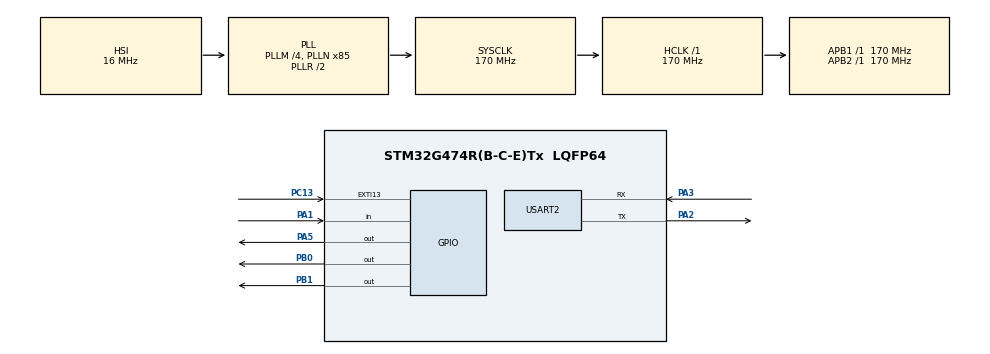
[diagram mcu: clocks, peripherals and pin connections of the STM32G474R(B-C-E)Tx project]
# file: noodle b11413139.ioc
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Mcu.Family=STM32G4
Mcu.Name=STM32G474R(B-C-E)Tx
Mcu.Package=LQFP64
NVIC.PriorityGroup=NVIC_PRIORITYGROUP_4
NVIC.USART2_IRQn=true\:0\:0\:false\:false\:true\:true\:true\:true
PA1.GPIO_PuPd=GPIO_PULLUP
PA1.Signal=GPIO_Input
PA13.GPIO_Label=T_SWDIO
PA13.Signal=SYS_JTMS-SWDIO
PA14.GPIO_Label=T_SWCLK
PA14.Signal=SYS_JTCK-SWCLK
PA2.Mode=Asynchronous
PA2.Signal=USART2_TX
PA3.Mode=Asynchronous
PA3.Signal=USART2_RX
PA5.GPIO_Speed=GPIO_SPEED_FREQ_HIGH
PA5.Signal=GPIO_Output
PB0.GPIO_Speed=GPIO_SPEED_FREQ_HIGH
PB0.Signal=GPIO_Output
PB1.GPIO_Speed=GPIO_SPEED_FREQ_HIGH
PB1.Signal=GPIO_Output
PB3.GPIO_Label=T_SWO
PB3.Signal=SYS_JTDO-SWO
PC13.GPIO_ModeDefaultEXTI=GPIO_MODE_IT_FALLING
PC13.Signal=GPXTI13
PC14-OSC32_IN.GPIO_Label=RCC_OSC32_IN
PC14-OSC32_IN.Signal=RCC_OSC32_IN
PC15-OSC32_OUT.GPIO_Label=RCC_OSC32_OUT
PC15-OSC32_OUT.Signal=RCC_OSC32_OUT
PF0-OSC_IN.GPIO_Label=RCC_OSC_IN
PF0-OSC_IN.Signal=RCC_OSC_IN
PF1-OSC_OUT.GPIO_Label=RCC_OSC_OUT
PF1-OSC_OUT.Signal=RCC_OSC_OUT
ProjectManager.HeapSize=0x200
ProjectManager.StackSize=0x400
ProjectManager.TargetToolchain=STM32CubeIDE
RCC.ADC12Freq_Value=170000000
RCC.ADC345Freq_Value=170000000
RCC.AHBFreq_Value=170000000
RCC.APB1Freq_Value=170000000
RCC.APB1TimFreq_Value=170000000
RCC.APB2Freq_Value=170000000
RCC.APB2TimFreq_Value=170000000
RCC.CortexFreq_Value=170000000
RCC.EXTERNAL_CLOCK_VALUE=12288000
RCC.HCLKFreq_Value=170000000
RCC.HSE_VALUE=24000000
RCC.HSI48_VALUE=48000000
RCC.HSI_VALUE=16000000
RCC.LSE_VALUE=32768
RCC.PLLM=RCC_PLLM_DIV4
RCC.PLLN=85
RCC.RTCClockSelection=RCC_RTCCLKSOURCE_LSE
RCC.SYSCLKFreq_VALUE=170000000
RCC.SYSCLKSource=RCC_SYSCLKSOURCE_PLLCLK
RCC.USBFreq_Value=170000000
RCC.VCOOutputFreq_Value=340000000
USART2.VirtualMode-Asynchronous=VM_ASYNC
VP_SYS_VS_DBSignals.Mode=DisableDeadBatterySignals
board=NUCLEO-G474RE

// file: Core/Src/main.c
/* USER CODE BEGIN Header */
/**
  ******************************************************************************
  * @file           : main.c
  * @brief          : 國立雲林科技大學 電子工程系「微計算機原理及應用」專案
  *                   智慧防盜泡麵微波爐守護系統 (STM32G474RETx @ 170MHz)
  *                   架構：CMSIS 純暫存器位元操作 + CubeMX 框架相容
  *                   更新功能：警報解除時強制檢查 PA1 是否插回接地
  ******************************************************************************
  * @attention
  *
  * Copyright (c) 2026 STMicroelectronics.
  * All rights reserved.
  *
  ******************************************************************************
  */
/* USER CODE END Header */
#include "main.h"

/* USER CODE BEGIN Includes */
#include <stdio.h>
#include <string.h>
#include <stdlib.h>
#include <stdbool.h>
/* USER CODE END Includes */

/* USER CODE BEGIN PTD */
typedef enum {
    STATE_IDLE = 0,
    STATE_ARMED,
    STATE_UNLOCKED,
    STATE_ALARM
} SystemState_t;

#define UART_RX_BUFFER_SIZE 64
#define CLI_LINE_MAX_LEN    64
/* USER CODE END PTD */

UART_HandleTypeDef huart2;

/* USER CODE BEGIN PV */
static volatile SystemState_t current_state = STATE_IDLE;
static char system_password[16] = "12345";
static uint8_t failed_attempts = 0;

/* USART2 環形緩衝區 */
static volatile uint8_t rx_ring_buffer[UART_RX_BUFFER_SIZE];
static volatile uint16_t rx_head = 0;
static volatile uint16_t rx_tail = 0;

/* CLI 命令行緩衝區 */
static char cli_line[CLI_LINE_MAX_LEN];
static uint16_t cli_index = 0;

/* EXTI13 按鍵事件旗標 */
static volatile bool exti13_flag = false;

/* 蜂鳴器發聲剩餘毫秒數 */
static volatile uint32_t buzzer_beep_remaining_ms = 0;
/* USER CODE END PV */

void SystemClock_Config(void);
static void MX_GPIO_Init(void);
static void MX_USART2_UART_Init(void);
/* USER CODE BEGIN PFP */
static void UART_SendChar(char ch);
static void UART_SendString(const char *str);
static void Buzzer_Tone_Toggle(void);
static void Buzzer_Mute(void);
static void Buzzer_TriggerTone(uint32_t duration_ms);
static void Trigger_Alarm(const char *reason);
static void Process_CLI_Command(char *cmd);
/* USER CODE END PFP */

/* USER CODE BEGIN 0 */

/**
  * @brief  透過 CMSIS 暫存器 TDR 發送單一字元
  */
static void UART_SendChar(char ch)
{
    while (!(USART2->ISR & USART_ISR_TXE_TXFNF)); // 等待發送資料暫存器為空
    USART2->TDR = (uint8_t)ch;
}

/**
  * @brief  透過 USART2 發送字串
  */
static void UART_SendString(const char *str)
{
    while (*str) {
        if (*str == '\n') {
            UART_SendChar('\r');
        }
        UART_SendChar(*str++);
    }
}

/**
  * @brief  PB1 輸出方波震盪（約 2.5kHz，兼顧有源與無源蜂鳴器）
  */
static void Buzzer_Tone_Toggle(void)
{
    GPIOB->BSRR = (1U << 1);            // PB1 拉高
    for (volatile int d = 0; d < 700; d++); // 延遲約 200us
    GPIOB->BSRR = (1U << (1 + 16));     // PB1 拉低
    for (volatile int d = 0; d < 700; d++); // 延遲約 200us
}

/**
  * @brief  蜂鳴器靜音
  */
static void Buzzer_Mute(void)
{
    GPIOB->BSRR = (1U << (1 + 16));     // 拉低靜音
}

/**
  * @brief  排程提示音
  */
static void Buzzer_TriggerTone(uint32_t duration_ms)
{
    buzzer_beep_remaining_ms = duration_ms;
}

/**
  * @brief  觸發警報（只印出一次警報訊息，不狂跳洗版）
  */
static void Trigger_Alarm(const char *reason)
{
    current_state = STATE_ALARM;
    UART_SendString("\r\n\r\n=======================================================\r\n");
    UART_SendString(" [警報啟動] 偵測到非法操作！\r\n");
    if (reason != NULL) {
        UART_SendString(" 原因：");
        UART_SendString(reason);
        UART_SendString("\r\n");
    }
    UART_SendString(" 警示狀態：紅燈恆亮、蜂鳴器狂鳴。\r\n");
    UART_SendString(" 解除流程：【必須先插回 PA1 感測線（接地）】後，再輸入 'RESET'！\r\n");
    UART_SendString("=======================================================\r\n> ");
}

/**
  * @brief  HAL EXTI 下降緣中斷回呼（PC13 板載藍色按鈕）
  */
void HAL_GPIO_EXTI_Callback(uint16_t GPIO_Pin)
{
    if (GPIO_Pin == GPIO_PIN_13) {
        exti13_flag = true;
    }
}

/**
  * @brief  CLI 命令解析器（中文介面）
  */
static void Process_CLI_Command(char *cmd)
{
    while (*cmd == ' ') cmd++;
    if (*cmd == '\0') return;

    /* 查詢狀態指令 */
    if (strncmp(cmd, "STATUS", 6) == 0) {
        char status_msg[160];
        const char *state_names[] = {"待機 (IDLE)", "守護上鎖 (ARMED)", "授權解鎖 (UNLOCKED)", "警報中 (ALARM)"};
        uint8_t pa1_val = (GPIOA->IDR & (1U << 1)) ? 1 : 0;
        snprintf(status_msg, sizeof(status_msg),
                 "\n[系統狀態] 模式: %s | 托盤感測線(PA1): %d (%s) | 密碼錯誤次數: %d\n> ",
                 state_names[current_state], pa1_val,
                 pa1_val == 0 ? "泡麵在位(接地)" : "托盤拔除(空)", failed_attempts);
        UART_SendString(status_msg);
        return;
    }

    switch (current_state) {
        case STATE_IDLE:
            if (strncmp(cmd, "LOCK", 4) == 0) {
                char *arg = cmd + 4;
                while (*arg == ' ') arg++;

                /* 檢查托盤感測線 PA1 是否接地（低電位 0 為在位） */
                if (GPIOA->IDR & (1U << 1)) {
                    UART_SendString("\n[錯誤] 托盤為空（PA1 未接地）！請先放置泡麵接好感測線後再上鎖。\n> ");
                } else {
                    if (strlen(arg) > 0) {
                        strncpy(system_password, arg, sizeof(system_password) - 1);
                        system_password[sizeof(system_password) - 1] = '\0';
                    }
                    failed_attempts = 0;
                    current_state = STATE_ARMED;
                    Buzzer_TriggerTone(120);
                    UART_SendString("\n[系統通知] 上鎖完成，系統進入【守護上鎖模式】。\n");
                    UART_SendString("[提示] 綠燈規律閃爍中。解鎖請直接輸入密碼。\n> ");
                }
            } else {
                UART_SendString("\n[待機指令] 輸入 'LOCK <密碼>' 進行上鎖，或輸入 'STATUS' 查看狀態。\n> ");
            }
            break;

        case STATE_ARMED:
            if (strcmp(cmd, system_password) == 0) {
                failed_attempts = 0;
                current_state = STATE_UNLOCKED;
                Buzzer_TriggerTone(200); // 授權成功嗶一聲
                UART_SendString("\n[認證成功] 密碼正確！微波爐門已解鎖（綠燈恆亮）。\n");
                UART_SendString("[取餐提示] 請開門並拔開 PA1 感測線取出泡麵。\n> ");
            } else {
                failed_attempts++;
                UART_SendString("\n[認證失敗] 密碼錯誤！\n");
                if (failed_attempts >= 3) {
                    /* 連續輸錯 3 次：短響兩聲警告後進入警報 */
                    for (int k = 0; k < 2; k++) {
                        for (int t = 0; t < 200; t++) Buzzer_Tone_Toggle();
                        HAL_Delay(80);
                    }
                    Trigger_Alarm("密碼連續輸錯達 3 次！");
                } else {
                    char err_msg[64];
                    snprintf(err_msg, sizeof(err_msg), "[警告] 密碼剩餘嘗試次數：%d\n> ", 3 - failed_attempts);
                    UART_SendString(err_msg);
                    Buzzer_TriggerTone(80);
                }
            }
            break;

        case STATE_UNLOCKED:
            UART_SendString("\n[取餐中] 請拔開 PA1 感測線取出泡麵，取餐後系統將自動返回待機。\n> ");
            break;

        case STATE_ALARM:
            if (strcmp(cmd, "RESET") == 0) {
                /* 安全防護檢查：必須先將 PA1 感測線插回 GND（低電位 0）才能解除警報 */
                if (GPIOA->IDR & (1U << 1)) {
                    UART_SendString("\n[拒絕解除] 泡麵尚未歸位（PA1 仍為高電位/拔開狀態）！\r\n"
                                    "[安全鎖定] 請先將 PA1 感測線插回 GND 接好，再輸入 'RESET'！\n> ");
                    Buzzer_TriggerTone(80); // 警示嗶聲
                } else {
                    current_state = STATE_IDLE;
                    failed_attempts = 0;
                    GPIOB->BSRR = (1U << (0 + 16)); // 紅燈滅
                    Buzzer_Mute();                  // 蜂鳴器停
                    UART_SendString("\n\n[警報解除] 感測線已確認歸位，系統復原並返回【待機模式】。\n> ");
                }
            } else {
                UART_SendString("\n[警報中] 請先插回 PA1 感測線，再輸入 'RESET' 解除警報！\n> ");
            }
            break;
    }
}
/* USER CODE END 0 */

int main(void)
{

  /* MCU Configuration--------------------------------------------------------*/

  /* Reset of all peripherals, Initializes the Flash interface and the Systick. */
  HAL_Init();

  /* Configure the system clock */
  SystemClock_Config();

  /* Initialize all configured peripherals */
  MX_GPIO_Init();
  MX_USART2_UART_Init();
  /* USER CODE BEGIN 2 */
  /* 開啟 USART2 RXNE 暫存器接收中斷 */
  USART2->CR1 |= USART_CR1_RXNEIE_RXFNEIE;

  /* 設定並開啟 NVIC 中斷 */
  NVIC_SetPriority(USART2_IRQn, 1);
  NVIC_EnableIRQ(USART2_IRQn);
  NVIC_SetPriority(EXTI15_10_IRQn, 2);
  NVIC_EnableIRQ(EXTI15_10_IRQn);

  /* 開機提示字串 */
  UART_SendString("\r\n=======================================================\r\n");
  UART_SendString("  國立雲林科技大學 電子工程系「微計算機原理及應用」\r\n");
  UART_SendString("  智慧防盜泡麵微波爐守護系統 (STM32G474RE)\r\n");
  UART_SendString("  核心時脈: 170 MHz | 架構: CMSIS 純暫存器位元控制\r\n");
  UART_SendString("=======================================================\r\n");
  UART_SendString("[待機中] 系統已就緒。預設密碼: 12345\r\n");
  UART_SendString("[操作引導] 請放妥泡麵(PA1接地)後輸入 'LOCK 密碼' 啟動守護。\r\n> ");

  /* 非阻塞計時變數 */
  uint32_t last_tick_led = HAL_GetTick();
  uint32_t last_tick_alarm = HAL_GetTick();

  /* PA5 綠燈呼吸燈參數 */
  const uint16_t pwm_period = 100;
  uint16_t duty_cycle = 0;
  int8_t duty_step = 1;
  uint32_t last_pwm_update_tick = HAL_GetTick();
  /* USER CODE END 2 */

  /* Infinite loop */
  /* USER CODE BEGIN WHILE */
  while (1)
  {
    uint32_t current_tick = HAL_GetTick();

    /* ========================================================================= */
    /* 1. CLI 環形緩衝區字元接收、即時回顯與退格鍵處理                             */
    /* ========================================================================= */
    while (rx_head != rx_tail) {
        uint8_t ch = rx_ring_buffer[rx_tail];
        rx_tail = (rx_tail + 1) % UART_RX_BUFFER_SIZE;

        if (ch == '\r' || ch == '\n') {
            UART_SendChar('\r');
            UART_SendChar('\n');
            cli_line[cli_index] = '\0';
            if (cli_index > 0) {
                Process_CLI_Command(cli_line);
                cli_index = 0;
            } else {
                UART_SendString("> ");
            }
        } else if (ch == '\b' || ch == 127) { // 處理退格鍵
            if (cli_index > 0) {
                cli_index--;
                UART_SendString("\b \b");
            }
        } else if (cli_index < (CLI_LINE_MAX_LEN - 1)) {
            cli_line[cli_index++] = (char)ch;
            UART_SendChar((char)ch); // 即時字元回顯
        }
    }

    /* ========================================================================= */
    /* 2. PC13 板載按鈕（門開關中斷）事件處理                                    */
    /* ========================================================================= */
    if (exti13_flag) {
        exti13_flag = false;
        if (current_state == STATE_ARMED) {
            Trigger_Alarm("未授權解鎖，強行開門（按下板載藍色按鈕 PC13）！");
        } else if (current_state == STATE_UNLOCKED) {
            UART_SendString("\r\n[門已開啟] 微波爐門開啟，請取出泡麵。\r\n> ");
            Buzzer_TriggerTone(60);
        } else if (current_state == STATE_IDLE) {
            UART_SendString("\r\n[門已開啟] 系統處於待機模式。\r\n> ");
        }
    }

    /* ========================================================================= */
    /* 3. 有限狀態機 (FSM) 核心執行區                                            */
    /* ========================================================================= */
    switch (current_state) {
        case STATE_IDLE:
            /* PB0 紅燈滅、蜂鳴器靜音 */
            GPIOB->BSRR = (1U << (0 + 16));
            if (buzzer_beep_remaining_ms == 0) Buzzer_Mute();

            /* PA5 綠燈非阻塞呼吸燈效果 */
            if (current_tick - last_pwm_update_tick >= 15) {
                last_pwm_update_tick = current_tick;
                duty_cycle += duty_step;
                if (duty_cycle >= pwm_period) {
                    duty_cycle = pwm_period;
                    duty_step = -1;
                } else if (duty_cycle <= 0) {
                    duty_cycle = 0;
                    duty_step = 1;
                }
            }

            for (uint16_t cycle = 0; cycle < pwm_period; cycle++) {
                if (cycle < duty_cycle) {
                    GPIOA->BSRR = (1U << 5);         // 點亮 PA5
                } else {
                    GPIOA->BSRR = (1U << (5 + 16));  // 熄滅 PA5
                }
            }
            break;

        case STATE_ARMED:
            /* PB0 紅燈滅、蜂鳴器靜音 */
            GPIOB->BSRR = (1U << (0 + 16));
            if (buzzer_beep_remaining_ms == 0) Buzzer_Mute();

            /* PA5 綠燈每 250ms 規律閃爍 */
            if (current_tick - last_tick_led >= 250) {
                last_tick_led = current_tick;
                if (GPIOA->ODR & (1U << 5)) {
                    GPIOA->BSRR = (1U << (5 + 16));
                } else {
                    GPIOA->BSRR = (1U << 5);
                }
            }

            /* 托盤防盜感測：若 PA1 未經解鎖遭拔開變為高電位 1 */
            if (GPIOA->IDR & (1U << 1)) {
                Trigger_Alarm("泡麵遭偷竊！未經密碼解鎖，托盤感測線 (PA1) 遭直接拔開！");
            }
            break;

        case STATE_UNLOCKED:
            /* PA5 綠燈恆亮，PB0 紅燈滅 */
            GPIOA->BSRR = (1U << 5);
            GPIOB->BSRR = (1U << (0 + 16));
            if (buzzer_beep_remaining_ms == 0) Buzzer_Mute();

            /* 授權取餐：主人拔開 PA1 感測線 */
            if (GPIOA->IDR & (1U << 1)) {
                UART_SendString("\r\n=======================================================\r\n");
                UART_SendString(" [取餐完畢] 泡麵已安全取出，請慢用！\r\n");
                UART_SendString("=======================================================\r\n");
                for (int t = 0; t < 600; t++) Buzzer_Tone_Toggle(); // 取餐長嗶一聲
                current_state = STATE_IDLE;
                UART_SendString("[待機中] 系統已自動返回待機模式。\r\n> ");
            }
            break;

        case STATE_ALARM:
            /* PA5 綠燈滅，PB0 紅燈恆亮 */
            GPIOA->BSRR = (1U << (5 + 16));
            GPIOB->BSRR = (1U << 0);

            /* 300ms 間歇週期：150ms 狂鳴、150ms 靜音 */
            if ((current_tick - last_tick_alarm) >= 300) {
                last_tick_alarm = current_tick;
            }

            if ((current_tick - last_tick_alarm) < 150) {
                Buzzer_Tone_Toggle(); // 產生警報頻率方波
            } else {
                Buzzer_Mute();        // 靜音
            }
            break;
    }

    /* ========================================================================= */
    /* 4. 非警報狀態下的短嗶聲驅動                                               */
    /* ========================================================================= */
    if (buzzer_beep_remaining_ms > 0 && current_state != STATE_ALARM) {
        Buzzer_Tone_Toggle();
        buzzer_beep_remaining_ms--;
        if (buzzer_beep_remaining_ms == 0) {
            Buzzer_Mute();
        }
    }

    /* USER CODE END WHILE */

  }
}

void SystemClock_Config(void)
{
  RCC_OscInitTypeDef RCC_OscInitStruct = {0};
  RCC_ClkInitTypeDef RCC_ClkInitStruct = {0};

  /** Configure the main internal regulator output voltage
  */
  HAL_PWREx_ControlVoltageScaling(PWR_REGULATOR_VOLTAGE_SCALE1_BOOST);

  /** Initializes the RCC Oscillators according to the specified parameters
  * in the RCC_OscInitTypeDef structure.
  */
  RCC_OscInitStruct.OscillatorType = RCC_OSCILLATORTYPE_HSI;
  RCC_OscInitStruct.HSIState = RCC_HSI_ON;
  RCC_OscInitStruct.HSICalibrationValue = RCC_HSICALIBRATION_DEFAULT;
  RCC_OscInitStruct.PLL.PLLState = RCC_PLL_ON;
  RCC_OscInitStruct.PLL.PLLSource = RCC_PLLSOURCE_HSI;
  RCC_OscInitStruct.PLL.PLLM = RCC_PLLM_DIV4;
  RCC_OscInitStruct.PLL.PLLN = 85;
  RCC_OscInitStruct.PLL.PLLP = RCC_PLLP_DIV2;
  RCC_OscInitStruct.PLL.PLLQ = RCC_PLLQ_DIV2;
  RCC_OscInitStruct.PLL.PLLR = RCC_PLLR_DIV2;
  if (HAL_RCC_OscConfig(&RCC_OscInitStruct) != HAL_OK)
  {
    Error_Handler();
  }

  /** Initializes the CPU, AHB and APB buses clocks
  */
  RCC_ClkInitStruct.ClockType = RCC_CLOCKTYPE_HCLK|RCC_CLOCKTYPE_SYSCLK
                              |RCC_CLOCKTYPE_PCLK1|RCC_CLOCKTYPE_PCLK2;
  RCC_ClkInitStruct.SYSCLKSource = RCC_SYSCLKSOURCE_PLLCLK;
  RCC_ClkInitStruct.AHBCLKDivider = RCC_SYSCLK_DIV1;
  RCC_ClkInitStruct.APB1CLKDivider = RCC_HCLK_DIV1;
  RCC_ClkInitStruct.APB2CLKDivider = RCC_HCLK_DIV1;

  if (HAL_RCC_ClockConfig(&RCC_ClkInitStruct, FLASH_LATENCY_4) != HAL_OK)
  {
    Error_Handler();
  }
}

static void MX_USART2_UART_Init(void)
{

  huart2.Instance = USART2;
  huart2.Init.BaudRate = 115200;
  huart2.Init.WordLength = UART_WORDLENGTH_8B;
  huart2.Init.StopBits = UART_STOPBITS_1;
  huart2.Init.Parity = UART_PARITY_NONE;
  huart2.Init.Mode = UART_MODE_TX_RX;
  huart2.Init.HwFlowCtl = UART_HWCONTROL_NONE;
  huart2.Init.OverSampling = UART_OVERSAMPLING_16;
  huart2.Init.OneBitSampling = UART_ONE_BIT_SAMPLE_DISABLE;
  huart2.Init.ClockPrescaler = UART_PRESCALER_DIV1;
  huart2.AdvancedInit.AdvFeatureInit = UART_ADVFEATURE_NO_INIT;
  if (HAL_UART_Init(&huart2) != HAL_OK)
  {
    Error_Handler();
  }
  if (HAL_UARTEx_SetTxFifoThreshold(&huart2, UART_TXFIFO_THRESHOLD_1_8) != HAL_OK)
  {
    Error_Handler();
  }
  if (HAL_UARTEx_SetRxFifoThreshold(&huart2, UART_RXFIFO_THRESHOLD_1_8) != HAL_OK)
  {
    Error_Handler();
  }
  if (HAL_UARTEx_DisableFifoMode(&huart2) != HAL_OK)
  {
    Error_Handler();
  }

}

static void MX_GPIO_Init(void)
{
  GPIO_InitTypeDef GPIO_InitStruct = {0};

  /* GPIO Ports Clock Enable */
  __HAL_RCC_GPIOC_CLK_ENABLE();
  __HAL_RCC_GPIOF_CLK_ENABLE();
  __HAL_RCC_GPIOA_CLK_ENABLE();
  __HAL_RCC_GPIOB_CLK_ENABLE();

  /*Configure GPIO pin Output Level */
  HAL_GPIO_WritePin(GPIOA, GPIO_PIN_5, GPIO_PIN_RESET);

  /*Configure GPIO pin Output Level */
  HAL_GPIO_WritePin(GPIOB, GPIO_PIN_0|GPIO_PIN_1, GPIO_PIN_RESET);

  /*Configure GPIO pin : PC13 */
  GPIO_InitStruct.Pin = GPIO_PIN_13;
  GPIO_InitStruct.Mode = GPIO_MODE_IT_FALLING;
  GPIO_InitStruct.Pull = GPIO_NOPULL;
  HAL_GPIO_Init(GPIOC, &GPIO_InitStruct);

  /*Configure GPIO pin : PA1 */
  GPIO_InitStruct.Pin = GPIO_PIN_1;
  GPIO_InitStruct.Mode = GPIO_MODE_INPUT;
  GPIO_InitStruct.Pull = GPIO_PULLUP;
  HAL_GPIO_Init(GPIOA, &GPIO_InitStruct);

  /*Configure GPIO pin : PA5 */
  GPIO_InitStruct.Pin = GPIO_PIN_5;
  GPIO_InitStruct.Mode = GPIO_MODE_OUTPUT_PP;
  GPIO_InitStruct.Pull = GPIO_NOPULL;
  GPIO_InitStruct.Speed = GPIO_SPEED_FREQ_HIGH;
  HAL_GPIO_Init(GPIOA, &GPIO_InitStruct);

  /*Configure GPIO pins : PB0 PB1 */
  GPIO_InitStruct.Pin = GPIO_PIN_0|GPIO_PIN_1;
  GPIO_InitStruct.Mode = GPIO_MODE_OUTPUT_PP;
  GPIO_InitStruct.Pull = GPIO_NOPULL;
  GPIO_InitStruct.Speed = GPIO_SPEED_FREQ_HIGH;
  HAL_GPIO_Init(GPIOB, &GPIO_InitStruct);

}

/* USER CODE BEGIN 4 */
/**
  * @brief  由 stm32g4xx_it.c 中的 USART2_IRQHandler 呼叫的暫存器中斷函式
  */
void UART_RxInterrupt_Handler(void)
{
    if (USART2->ISR & USART_ISR_RXNE_RXFNE) {
        uint8_t data = (uint8_t)(USART2->RDR);
        uint16_t next_head = (rx_head + 1) % UART_RX_BUFFER_SIZE;
        if (next_head != rx_tail) {
            rx_ring_buffer[rx_head] = data;
            rx_head = next_head;
        }
    }

    if (USART2->ISR & USART_ISR_ORE) {
        USART2->ICR = USART_ICR_ORECF; // 清除 Overrun Error
    }
}
/* USER CODE END 4 */

void Error_Handler(void)
{
  __disable_irq();
  while (1)
  {
  }
}
